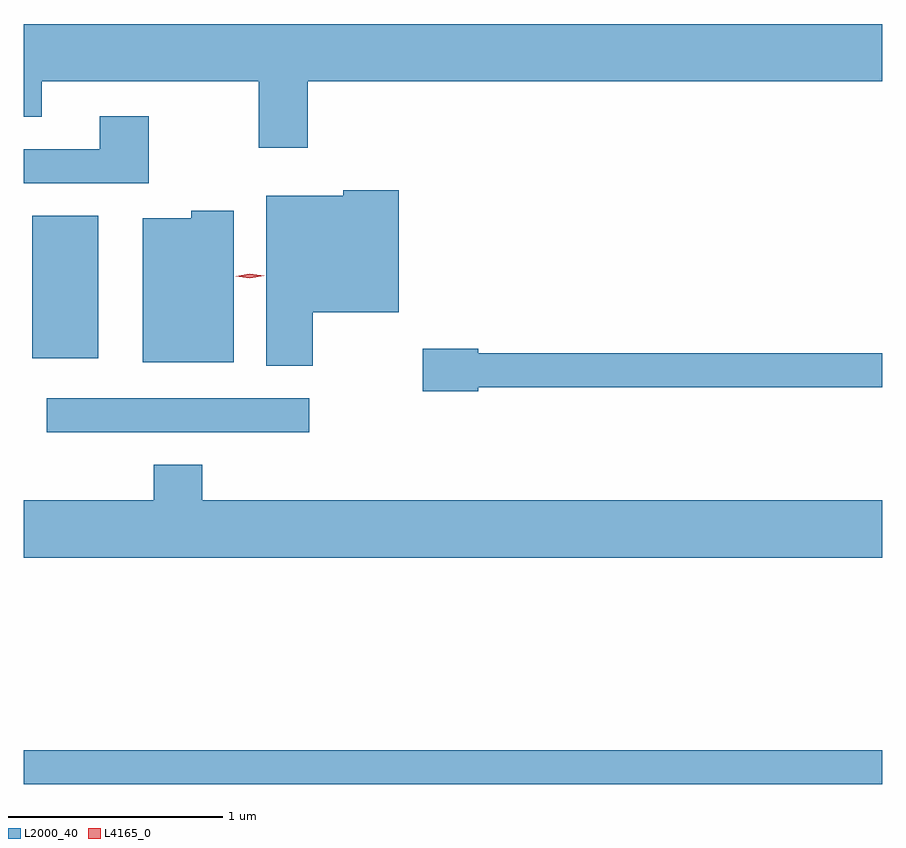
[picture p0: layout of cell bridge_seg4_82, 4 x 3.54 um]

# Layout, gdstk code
import gdstk
lib = gdstk.Library(unit=1e-6, precision=1e-09)
def R(c, l, rs):  # rectangles x0, y0, x1, y1
    for r in rs: c.add(gdstk.rectangle(r[:2], r[2:], *l))
def P(c, l, *ps):  # polygons
    for p in ps: c.add(gdstk.Polygon(p, *l))
L2000_40 = (2000, 40)
L4165_0 = (4165, 0)

bridge_seg4_82 = lib.new_cell('bridge_seg4_82')
R(bridge_seg4_82, L2000_40, [(1121.387,1378.041,1125.387,1378.199), (1121.493,1379.681,1122.718,1379.839), (1121.426,1380.026,1121.734,1380.689)])
P(bridge_seg4_82, L2000_40, [(1122.709,1381.316),(1125.387,1381.316),(1125.387,1381.584),(1121.387,1381.584),(1121.387,1381.151),(1121.469,1381.151),(1121.469,1381.316),(1122.481,1381.316),(1122.481,1381.006),(1122.709,1381.006)],
  [(1121.969,1381.154),(1121.741,1381.154),(1121.741,1380.999),(1121.387,1380.999),(1121.387,1380.841),(1121.969,1380.841)],
  [(1122.734,1380.241),(1123.134,1380.241),(1123.134,1380.809),(1122.876,1380.809),(1122.876,1380.784),(1122.516,1380.784),(1122.516,1379.991),(1122.734,1379.991)],
  [(1122.364,1380.714),(1122.166,1380.714),(1122.166,1380.679),(1121.941,1380.679),(1121.941,1380.006),(1122.364,1380.006)],
  [(1123.504,1379.891),(1125.387,1379.891),(1125.387,1380.049),(1123.504,1380.049),(1123.504,1380.069),(1123.246,1380.069),(1123.246,1379.871),(1123.504,1379.871)],
  [(1125.387,1379.364),(1122.219,1379.364),(1122.219,1379.529),(1121.991,1379.529),(1121.991,1379.364),(1121.387,1379.364),(1121.387,1379.096),(1125.387,1379.096)])
P(bridge_seg4_82, L4165_0, [(1122.44,1380.399),(1122.374,1380.407),(1122.374,1380.408),(1122.374,1380.408),(1122.44,1380.419),(1122.506,1380.411),(1122.506,1380.41),(1122.506,1380.41)])

lib.write_gds('bridge_seg4_82.gds')
